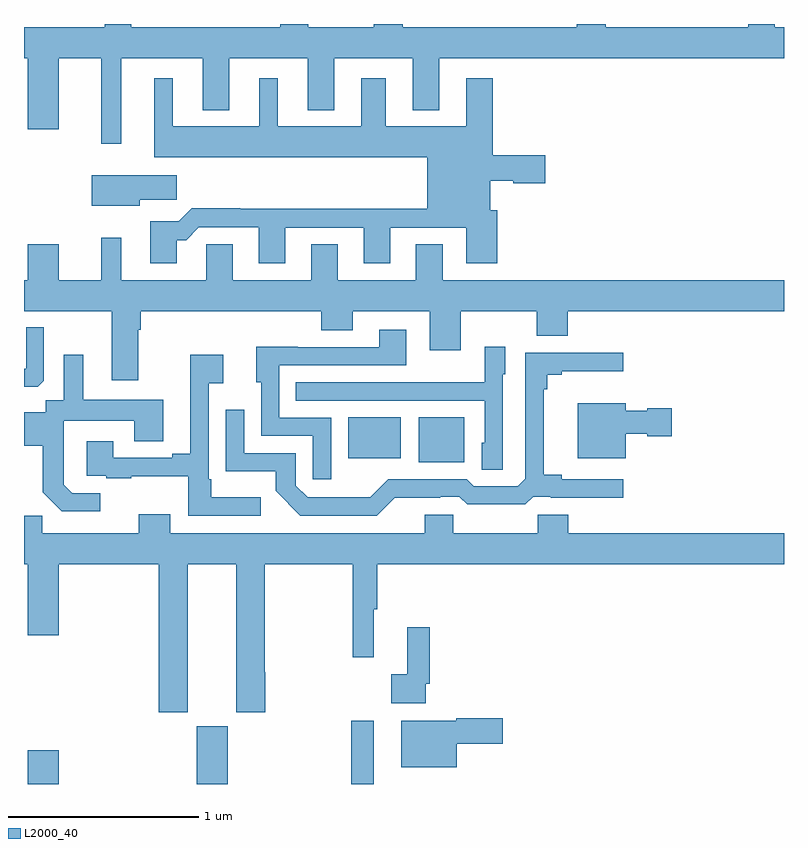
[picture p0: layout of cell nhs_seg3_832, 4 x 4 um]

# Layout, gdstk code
import gdstk
lib = gdstk.Library(unit=1e-6, precision=1e-09)
def R(c, l, rs):  # rectangles x0, y0, x1, y1
    for r in rs: c.add(gdstk.rectangle(r[:2], r[2:], *l))
def P(c, l, *ps):  # polygons
    for p in ps: c.add(gdstk.Polygon(p, *l))
L2000_40 = (2000, 40)

nhs_seg3_832 = lib.new_cell('nhs_seg3_832')
R(nhs_seg3_832, L2000_40, [(153.02,726.4,153.184,726.577), (153.908,726.4,154.072,726.705), (154.723,726.4,154.84,726.733), (155.078,728.093,155.317,728.329), (154.706,728.114,154.984,728.329)])
P(nhs_seg3_832, L2000_40, [(153,730.22),(153.02,730.22),(153.02,729.846),(153.184,729.846),(153.184,730.22),(153.407,730.22),(153.407,729.771),(153.511,729.771),(153.511,730.22),(153.941,730.22),(153.941,729.947),(154.081,729.947),(154.081,730.22),(154.493,730.22),(154.493,729.947),(154.633,729.947),(154.633,730.22),(155.045,730.22),(155.045,729.947),(155.185,729.947),(155.185,730.22),(157,730.22),(157,730.384),(156.951,730.384),(156.951,730.4),(156.813,730.4),(156.813,730.384),(156.061,730.384),(156.061,730.4),(155.909,730.4),(155.909,730.384),(154.994,730.384),(154.994,730.4),(154.841,730.4),(154.841,730.384),(154.497,730.384),(154.497,730.4),(154.349,730.4),(154.349,730.384),(153.565,730.384),(153.565,730.4),(153.425,730.4),(153.425,730.384),(153,730.384)],
  [(153.805,729.263),(153.854,729.263),(153.921,729.33),(154.235,729.33),(154.235,729.141),(154.375,729.141),(154.375,729.327),(154.787,729.327),(154.787,729.141),(154.927,729.141),(154.927,729.327),(155.327,729.327),(155.327,729.141),(155.492,729.141),(155.492,729.42),(155.455,729.42),(155.455,729.575),(155.575,729.575),(155.575,729.563),(155.743,729.563),(155.743,729.71),(155.468,729.71),(155.468,730.114),(155.327,730.114),(155.327,729.862),(154.903,729.862),(154.903,730.114),(154.775,730.114),(154.775,729.862),(154.336,729.862),(154.336,730.114),(154.238,730.114),(154.238,729.862),(153.784,729.862),(153.784,730.114),(153.686,730.114),(153.686,729.698),(155.123,729.698),(155.123,729.428),(154.139,729.428),(154.139,729.431),(153.884,729.431),(153.814,729.361),(153.665,729.361),(153.665,729.141),(153.805,729.141)],
  [(153.61,729.475),(153.805,729.475),(153.805,729.604),(153.356,729.604),(153.356,729.443),(153.61,729.443)],
  [(153.601,728.792),(153.614,728.792),(153.614,728.888),(154.565,728.888),(154.565,728.789),(154.729,728.789),(154.729,728.888),(155.135,728.888),(155.135,728.682),(155.299,728.682),(155.299,728.888),(155.699,728.888),(155.699,728.76),(155.863,728.76),(155.863,728.888),(157,728.888),(157,729.052),(155.203,729.052),(155.203,729.242),(155.063,729.242),(155.063,729.052),(154.651,729.052),(154.651,729.242),(154.511,729.242),(154.511,729.052),(154.099,729.052),(154.099,729.242),(153.96,729.242),(153.96,729.052),(153.511,729.052),(153.511,729.274),(153.407,729.274),(153.407,729.052),(153.184,729.052),(153.184,729.241),(153.02,729.241),(153.02,729.052),(153,729.052),(153,728.888),(153.461,728.888),(153.461,728.526),(153.601,728.526)],
  [(153.105,728.523),(153.105,728.803),(153.012,728.803),(153.012,728.586),(153,728.586),(153,728.492),(153.073,728.492)],
  [(154.617,728.328),(154.344,728.328),(154.344,728.604),(155.011,728.604),(155.011,728.791),(154.871,728.791),(154.871,728.7),(154.441,728.7),(154.441,728.702),(154.223,728.702),(154.223,728.514),(154.248,728.514),(154.248,728.232),(154.521,728.232),(154.521,728.004),(154.617,728.004)],
  [(155.52,728.556),(155.533,728.556),(155.533,728.701),(155.424,728.701),(155.424,728.515),(155.107,728.515),(155.107,728.514),(154.429,728.514),(154.429,728.418),(155.424,728.418),(155.424,728.196),(155.408,728.196),(155.408,728.053),(155.52,728.053)],
  [(154.952,727.907),(155.192,727.907),(155.192,727.911),(155.292,727.911),(155.332,727.872),(155.639,727.872),(155.679,727.911),(155.773,727.911),(155.773,727.907),(156.154,727.907),(156.154,728.004),(155.83,728.004),(155.83,728.027),(155.735,728.027),(155.735,728.477),(155.753,728.477),(155.753,728.554),(155.83,728.554),(155.83,728.573),(156.154,728.573),(156.154,728.67),(155.637,728.67),(155.637,728.007),(155.598,727.968),(155.367,727.968),(155.331,728.004),(154.917,728.004),(154.823,727.91),(154.718,727.91),(154.718,727.908),(154.494,727.908),(154.431,727.971),(154.431,728.142),(154.158,728.142),(154.158,728.371),(154.062,728.371),(154.062,728.045),(154.324,728.045),(154.324,727.943),(154.454,727.812),(154.857,727.812)],
  [(154.246,727.909),(153.985,727.909),(153.985,728.005),(153.972,728.005),(153.972,728.51),(154.048,728.51),(154.048,728.659),(153.875,728.659),(153.875,728.137),(153.779,728.137),(153.779,728.118),(153.469,728.118),(153.469,728.203),(153.329,728.203),(153.329,728.022),(153.433,728.022),(153.433,728.01),(153.565,728.01),(153.565,728.021),(153.864,728.021),(153.864,727.812),(154.246,727.812)],
  [(153.4,727.929),(153.255,727.929),(153.208,727.976),(153.208,728.071),(153.21,728.071),(153.21,728.312),(153.581,728.312),(153.581,728.203),(153.733,728.203),(153.733,728.422),(153.313,728.422),(153.313,728.659),(153.209,728.659),(153.209,728.42),(153.114,728.42),(153.114,728.356),(153,728.356),(153,728.181),(153.099,728.181),(153.099,727.935),(153.199,727.835),(153.4,727.835)],
  [(156.166,728.243),(156.279,728.243),(156.279,728.231),(156.409,728.231),(156.409,728.378),(156.279,728.378),(156.279,728.365),(156.166,728.365),(156.166,728.404),(155.915,728.404),(155.915,728.114),(156.166,728.114)],
  [(153.862,727.556),(154.118,727.556),(154.118,726.777),(154.271,726.777),(154.271,726.989),(154.266,726.989),(154.266,727.556),(154.731,727.556),(154.731,727.068),(154.841,727.068),(154.841,727.32),(154.859,727.32),(154.859,727.556),(157,727.556),(157,727.72),(155.864,727.72),(155.864,727.818),(155.704,727.818),(155.704,727.72),(155.259,727.72),(155.259,727.818),(155.108,727.818),(155.108,727.72),(153.769,727.72),(153.769,727.819),(153.605,727.819),(153.605,727.72),(153.095,727.72),(153.095,727.811),(153,727.811),(153,727.556),(153.02,727.556),(153.02,727.182),(153.184,727.182),(153.184,727.556),(153.71,727.556),(153.71,726.777),(153.862,726.777)],
  [(155.115,726.928),(155.135,726.928),(155.135,727.225),(155.018,727.225),(155.018,726.977),(154.932,726.977),(154.932,726.824),(155.115,726.824)],
  [(155.278,726.611),(155.521,726.611),(155.521,726.746),(155.274,726.746),(155.274,726.733),(154.985,726.733),(154.985,726.488),(155.278,726.488)])

lib.write_gds('nhs_seg3_832.gds')
